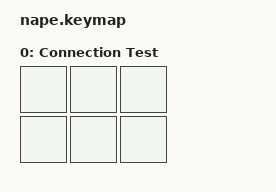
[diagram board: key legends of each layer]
#include <behaviors.dtsi>

/ {
    keymap {
        compatible = "zmk,keymap";

        connection_test_layer {
            display-name = "Connection Test";
            bindings = <
                &none &none &none
                &none &none &none
            >;
        };
    };
};
